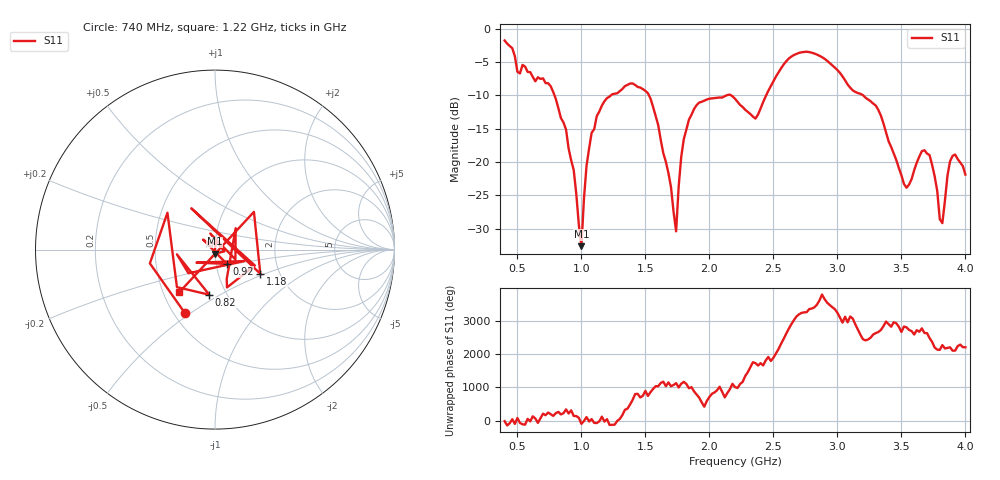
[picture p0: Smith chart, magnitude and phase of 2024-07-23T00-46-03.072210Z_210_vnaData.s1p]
!Created with skrf (http://scikit-rf.org).
# Hz S RI R 50.0
!freq ReS11 ImS11
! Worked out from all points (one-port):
!   181 points, 400 MHz to 4 GHz, reference 50 ohm
!   lowest |S11| = -32.6 dB at 1 GHz (marker M1), VSWR 1.05, Z = 49.7 - j2.3 ohm
!   |S11| at or under -10 dB: 789.9 MHz to 1.23 GHz (440.4 MHz wide, 43.6 % of centre); 1.528 GHz to 2.134 GHz (605.7 MHz wide, 33.1 % of centre); 3.202 GHz to end of sweep (the widest 3 of 4)
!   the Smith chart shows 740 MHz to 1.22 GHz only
!   S11 on the Smith chart (normalised r, x): 740 MHz: 0.57, -0.47; 820 MHz: 0.83, -0.45; 920 MHz: 1.13, -0.18; 1.18 GHz: 1.59, -0.47; 1.22 GHz: 0.61, -0.32
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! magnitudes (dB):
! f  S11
! 400 MHz  -1.7
! 500 MHz  -6.5
! 740 MHz  -8.2
! 820 MHz  -11.9
! 860 MHz  -14.1
! 920 MHz  -19.7
! 1 GHz  -32.6
! 1.04 GHz  -20.6
! 1.06 GHz  -18.0
! 1.18 GHz  -10.9
! 1.22 GHz  -10.2
! 1.3 GHz  -9.4
! 1.54 GHz  -10.5
! 1.68 GHz  -21.7
! 1.74 GHz  -30.4
! 1.76 GHz  -23.7
! 1.8 GHz  -16.6
! 1.88 GHz  -12.0
! 2.2 GHz  -10.5
! 2.36 GHz  -13.5
! 2.66 GHz  -3.9
! 3.1 GHz  -8.8
! 3.3 GHz  -11.5
! 3.56 GHz  -23.4
! 3.72 GHz  -19.0
! 3.82 GHz  -29.2
! 3.9 GHz  -19.1
! 4 GHz  -21.9
